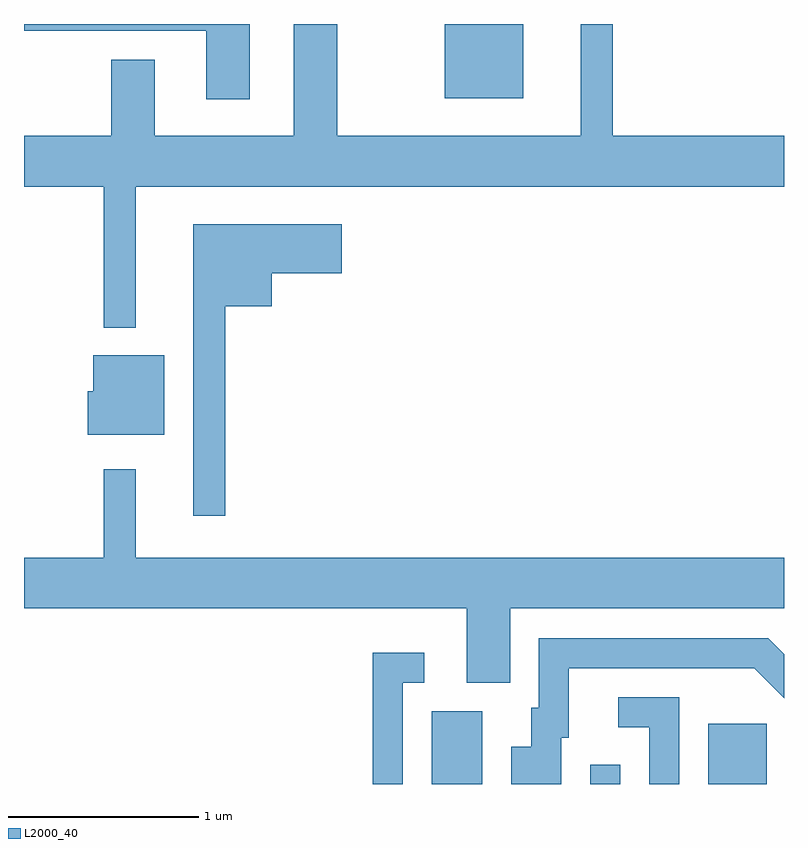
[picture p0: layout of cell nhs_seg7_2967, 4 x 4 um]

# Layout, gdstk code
import gdstk
lib = gdstk.Library(unit=1e-6, precision=1e-09)
def R(c, l, rs):  # rectangles x0, y0, x1, y1
    for r in rs: c.add(gdstk.rectangle(r[:2], r[2:], *l))
def P(c, l, *ps):  # polygons
    for p in ps: c.add(gdstk.Polygon(p, *l))
L2000_40 = (2000, 40)

nhs_seg7_2967 = lib.new_cell('nhs_seg7_2967')
R(nhs_seg7_2967, L2000_40, [(277.756,1742.252,278.024,1742.634), (278.591,1742.252,278.749,1742.353), (279.211,1742.252,279.519,1742.569), (277.826,1745.861,278.239,1746.252)])
P(nhs_seg7_2967, L2000_40, [(276.199,1745.396),(279.611,1745.396),(279.611,1745.664),(278.709,1745.664),(278.709,1746.252),(278.541,1746.252),(278.541,1745.664),(277.259,1745.664),(277.259,1746.252),(277.031,1746.252),(277.031,1745.664),(276.299,1745.664),(276.299,1746.064),(276.071,1746.064),(276.071,1745.664),(275.611,1745.664),(275.611,1745.396),(276.031,1745.396),(276.031,1744.653),(276.199,1744.653)],
  [(276.799,1746.252),(275.611,1746.252),(275.611,1746.216),(276.571,1746.216),(276.571,1745.856),(276.799,1745.856)],
  [(276.669,1744.766),(276.914,1744.766),(276.914,1744.941),(277.284,1744.941),(277.284,1745.199),(276.501,1745.199),(276.501,1743.663),(276.669,1743.663)],
  [(276.349,1744.509),(275.976,1744.509),(275.976,1744.319),(275.946,1744.319),(275.946,1744.091),(276.349,1744.091)],
  [(278.169,1743.176),(279.611,1743.176),(279.611,1743.444),(276.199,1743.444),(276.199,1743.908),(276.031,1743.908),(276.031,1743.444),(275.611,1743.444),(275.611,1743.176),(277.941,1743.176),(277.941,1742.786),(278.169,1742.786)],
  [(278.439,1742.496),(278.479,1742.496),(278.479,1742.861),(279.454,1742.861),(279.611,1742.704),(279.611,1742.935),(279.527,1743.019),(278.321,1743.019),(278.321,1742.654),(278.281,1742.654),(278.281,1742.449),(278.176,1742.449),(278.176,1742.252),(278.439,1742.252)],
  [(277.604,1742.786),(277.718,1742.786),(277.718,1742.944),(277.446,1742.944),(277.446,1742.252),(277.604,1742.252)],
  [(279.059,1742.709),(278.738,1742.709),(278.738,1742.551),(278.901,1742.551),(278.901,1742.252),(279.059,1742.252)])

lib.write_gds('nhs_seg7_2967.gds')
